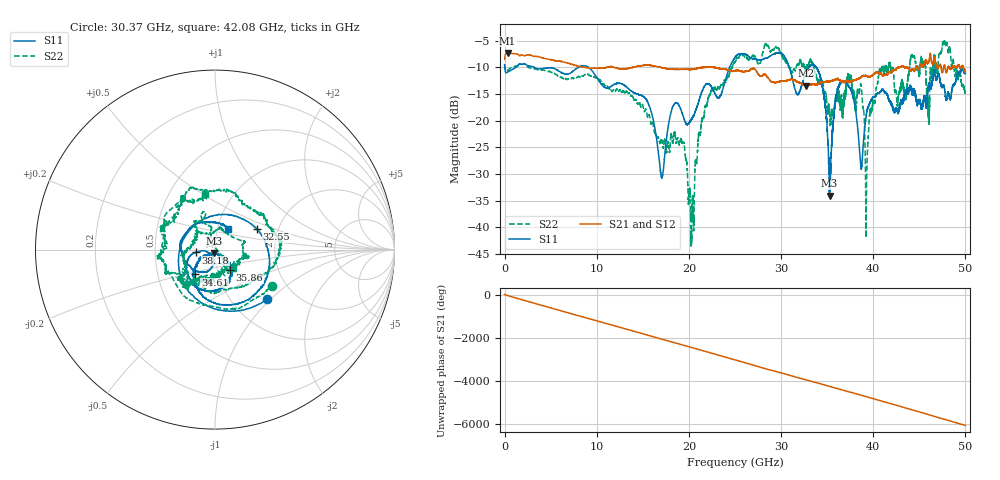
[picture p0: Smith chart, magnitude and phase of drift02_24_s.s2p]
!Created with skrf (http://scikit-rf.org).
# Hz S RI R 50.0
!freq ReS11 ImS11 ReS21 ImS21 ReS12 ImS12 ReS22 ImS22
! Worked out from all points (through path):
!   10001 points, 300 kHz to 50 GHz, reference 50 ohm
!   highest |S21| = -7.32 dB at 325.3 MHz (marker M1); lowest = -13.4 dB at 32.73 GHz (marker M2)
!   group delay of S21, straight-line fit = 335 ps
!   lowest |S11| = -34.0 dB at 35.26 GHz (marker M3), VSWR 1.04, Z = 49.5 - j1.9 ohm
!   |S11| at or under -10 dB: 3.236 GHz to 8.004 GHz (4.768 GHz wide, 84.8 % of centre); 9.105 GHz to 24.41 GHz (15.31 GHz wide, 91.3 % of centre); 33.83 GHz to end of sweep (the widest 3 of 10)
!   |S22| runs from -43.5 to -5.0 dB; largest |S21 - S12| = 0.014
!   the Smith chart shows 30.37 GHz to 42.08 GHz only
!   S11 on the Smith chart (normalised r, x): 30.37 GHz: 1.45, -0.95; 32.55 GHz: 1.55, +0.38; 34.61 GHz: 0.77, -0.22; 35.86 GHz: 1.15, -0.27; 38.18 GHz: 0.81, -0.03; 42.08 GHz: 1.13, +0.27
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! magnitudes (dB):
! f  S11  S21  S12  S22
! 300 kHz  -9.5  -8.5  -8.4  -9.4
! 325.3 MHz  -10.9  -7.3  -7.3  -10.6
! 8.335 GHz  -9.7  -9.9  -9.9  -11.6
! 16.67 GHz  -25.8  -9.9  -9.9  -23.1
! 19.31 GHz  -18.8  -10.4  -10.4  -24.3
! 20.35 GHz  -19.4  -10.4  -10.4  -35.3
! 21.94 GHz  -13.1  -10.0  -10.0  -17.0
! 25 GHz  -8.2  -10.6  -10.7  -9.0
! 30.37 GHz  -8.0  -12.6  -12.6  -8.5
! 32.55 GHz  -11.7  -13.2  -13.3  -10.0
! 32.73 GHz  -10.9  -13.4  -13.5  -10.0
! 33.34 GHz  -9.6  -13.2  -13.2  -9.0
! 34.61 GHz  -15.1  -12.7  -12.8  -13.9
! 35.26 GHz  -34.0  -12.6  -12.6  -18.5
! 35.86 GHz  -16.9  -12.3  -12.3  -16.2
! 38.18 GHz  -19.3  -12.2  -12.3  -16.7
! 39.31 GHz  -18.2  -11.6  -11.6  -28.9
! 41.67 GHz  -15.9  -10.9  -11.1  -9.7
! 42.08 GHz  -17.1  -10.7  -10.6  -10.0
! 45.96 GHz  -14.1  -9.1  -9.2  -17.2
! 47.77 GHz  -14.4  -9.8  -9.8  -5.4
! 50 GHz  -11.2  -10.9  -10.9  -14.6
